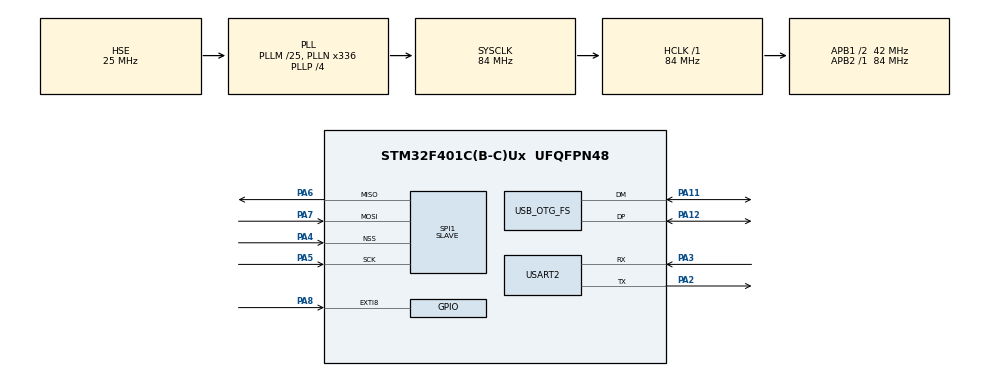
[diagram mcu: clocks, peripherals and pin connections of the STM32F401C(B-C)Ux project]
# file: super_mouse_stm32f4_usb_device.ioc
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Dma.Request0=SPI1_RX
Dma.Request1=SPI1_TX
Dma.Request2=USART2_RX
Dma.Request3=USART2_TX
Dma.SPI1_RX.0.Direction=DMA_PERIPH_TO_MEMORY
Dma.SPI1_RX.0.FIFOMode=DMA_FIFOMODE_DISABLE
Dma.SPI1_RX.0.Instance=DMA2_Stream0
Dma.SPI1_RX.0.MemDataAlignment=DMA_MDATAALIGN_BYTE
Dma.SPI1_RX.0.MemInc=DMA_MINC_ENABLE
Dma.SPI1_RX.0.Mode=DMA_NORMAL
Dma.SPI1_RX.0.PeriphDataAlignment=DMA_PDATAALIGN_BYTE
Dma.SPI1_RX.0.PeriphInc=DMA_PINC_DISABLE
Dma.SPI1_RX.0.Priority=DMA_PRIORITY_LOW
Dma.SPI1_TX.1.Direction=DMA_MEMORY_TO_PERIPH
Dma.SPI1_TX.1.FIFOMode=DMA_FIFOMODE_DISABLE
Dma.SPI1_TX.1.Instance=DMA2_Stream3
Dma.SPI1_TX.1.MemDataAlignment=DMA_MDATAALIGN_BYTE
Dma.SPI1_TX.1.MemInc=DMA_MINC_ENABLE
Dma.SPI1_TX.1.Mode=DMA_NORMAL
Dma.SPI1_TX.1.PeriphDataAlignment=DMA_PDATAALIGN_BYTE
Dma.SPI1_TX.1.PeriphInc=DMA_PINC_DISABLE
Dma.SPI1_TX.1.Priority=DMA_PRIORITY_LOW
Dma.USART2_RX.2.Direction=DMA_PERIPH_TO_MEMORY
Dma.USART2_RX.2.FIFOMode=DMA_FIFOMODE_DISABLE
Dma.USART2_RX.2.Instance=DMA1_Stream5
Dma.USART2_RX.2.MemDataAlignment=DMA_MDATAALIGN_BYTE
Dma.USART2_RX.2.MemInc=DMA_MINC_ENABLE
Dma.USART2_RX.2.Mode=DMA_NORMAL
Dma.USART2_RX.2.PeriphDataAlignment=DMA_PDATAALIGN_BYTE
Dma.USART2_RX.2.PeriphInc=DMA_PINC_DISABLE
Dma.USART2_RX.2.Priority=DMA_PRIORITY_LOW
Dma.USART2_TX.3.Direction=DMA_MEMORY_TO_PERIPH
Dma.USART2_TX.3.FIFOMode=DMA_FIFOMODE_DISABLE
Dma.USART2_TX.3.Instance=DMA1_Stream6
Dma.USART2_TX.3.MemDataAlignment=DMA_MDATAALIGN_BYTE
Dma.USART2_TX.3.MemInc=DMA_MINC_ENABLE
Dma.USART2_TX.3.Mode=DMA_NORMAL
Dma.USART2_TX.3.PeriphDataAlignment=DMA_PDATAALIGN_BYTE
Dma.USART2_TX.3.PeriphInc=DMA_PINC_DISABLE
Dma.USART2_TX.3.Priority=DMA_PRIORITY_LOW
Mcu.Family=STM32F4
Mcu.Name=STM32F401C(B-C)Ux
Mcu.Package=UFQFPN48
NVIC.DMA1_Stream5_IRQn=true\:0\:0\:false\:false\:true\:false\:true
NVIC.DMA1_Stream6_IRQn=true\:0\:0\:false\:false\:true\:false\:true
NVIC.DMA2_Stream0_IRQn=true\:0\:0\:false\:false\:true\:false\:true
NVIC.DMA2_Stream3_IRQn=true\:0\:0\:false\:false\:true\:false\:true
NVIC.EXTI9_5_IRQn=true\:0\:0\:false\:false\:true\:true\:true
NVIC.OTG_FS_IRQn=true\:0\:0\:false\:false\:true\:true\:true
NVIC.PriorityGroup=NVIC_PRIORITYGROUP_4
NVIC.SPI1_IRQn=true\:0\:0\:false\:false\:true\:true\:true
NVIC.TIM1_BRK_TIM9_IRQn=true\:0\:0\:false\:false\:true\:true\:true
NVIC.TIM1_TRG_COM_TIM11_IRQn=true\:0\:0\:false\:false\:true\:true\:true
NVIC.TIM1_UP_TIM10_IRQn=true\:0\:0\:false\:false\:true\:true\:true
NVIC.USART2_IRQn=true\:0\:0\:false\:false\:true\:true\:true
PA11.Mode=Device_Only
PA11.Signal=USB_OTG_FS_DM
PA12.Mode=Device_Only
PA12.Signal=USB_OTG_FS_DP
PA13.Mode=Serial_Wire
PA13.Signal=SYS_JTMS-SWDIO
PA14.Mode=Serial_Wire
PA14.Signal=SYS_JTCK-SWCLK
PA2.Mode=Asynchronous
PA2.Signal=USART2_TX
PA3.Mode=Asynchronous
PA3.Signal=USART2_RX
PA4.Mode=NSS_Signal_Hard_Input
PA4.Signal=SPI1_NSS
PA5.Mode=Full_Duplex_Slave
PA5.Signal=SPI1_SCK
PA6.Mode=Full_Duplex_Slave
PA6.Signal=SPI1_MISO
PA7.Mode=Full_Duplex_Slave
PA7.Signal=SPI1_MOSI
PA8.Signal=GPXTI8
PH0\ -\ OSC_IN.Mode=HSE-External-Oscillator
PH0\ -\ OSC_IN.Signal=RCC_OSC_IN
PH1\ -\ OSC_OUT.Mode=HSE-External-Oscillator
PH1\ -\ OSC_OUT.Signal=RCC_OSC_OUT
ProjectManager.HeapSize=0x200
ProjectManager.StackSize=0x400
ProjectManager.TargetToolchain=STM32CubeIDE
RCC.48MHZClocksFreq_Value=48000000
RCC.AHBFreq_Value=84000000
RCC.APB1CLKDivider=RCC_HCLK_DIV2
RCC.APB1Freq_Value=42000000
RCC.APB1TimFreq_Value=84000000
RCC.APB2Freq_Value=84000000
RCC.APB2TimFreq_Value=84000000
RCC.CortexFreq_Value=84000000
RCC.HCLKFreq_Value=84000000
RCC.HSE_VALUE=25000000
RCC.HSI_VALUE=16000000
RCC.LSE_VALUE=32768
RCC.PLLM=25
RCC.PLLN=336
RCC.PLLP=RCC_PLLP_DIV4
RCC.PLLQ=7
RCC.SYSCLKFreq_VALUE=84000000
RCC.SYSCLKSource=RCC_SYSCLKSOURCE_PLLCLK
RCC.VCOOutputFreq_Value=336000000
SPI1.Direction=SPI_DIRECTION_2LINES
SPI1.Mode=SPI_MODE_SLAVE
SPI1.VirtualNSS=VM_NSSHARD
SPI1.VirtualType=VM_SLAVE
TIM10.Prescaler=8400
TIM11.AutoReloadPreload=TIM_AUTORELOAD_PRELOAD_ENABLE
TIM11.Period=10
TIM11.Prescaler=8400
TIM5.Prescaler=8400
TIM9.Prescaler=8400
USART2.VirtualMode=VM_ASYNC
USB_DEVICE.CLASS_NAME_FS=HID
USB_DEVICE.VirtualMode=Hid
USB_DEVICE.VirtualModeFS=Hid_FS
USB_OTG_FS.VirtualMode=Device_Only
VP_TIM10_VS_ClockSourceINT.Mode=Enable_Timer
VP_TIM11_VS_ClockSourceINT.Mode=Enable_Timer
VP_TIM5_VS_ClockSourceINT.Mode=Internal
VP_TIM9_VS_ClockSourceINT.Mode=Internal
VP_USB_DEVICE_VS_USB_DEVICE_HID_FS.Mode=HID_FS
board=custom

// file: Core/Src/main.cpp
/* USER CODE BEGIN Header */
/**
  ******************************************************************************
  * @file           : main.c
  * @brief          : Main program body
  ******************************************************************************
  * @attention
  *
  * <h2><center>&copy; Copyright (c) 2020 STMicroelectronics.
  * All rights reserved.</center></h2>
  *
  * This software component is licensed by ST under BSD 3-Clause license,
  * the "License"; You may not use this file except in compliance with the
  * License. You may obtain a copy of the License at:
  *                        opensource.org/licenses/BSD-3-Clause
  *
  ******************************************************************************
  */
/* USER CODE END Header */

#include <cstdio>

#include "main.h"
#include "usb_device.h"
#include "usbd_hid.h"
#include "mouse_event_handler.hpp"
#include "circular_buffers.hpp"
#include "key_value_tree.hpp"
#include "rpc_impl.hpp"

CRC_HandleTypeDef hcrc;

IWDG_HandleTypeDef hiwdg;

SPI_HandleTypeDef hspi1;
DMA_HandleTypeDef hdma_spi1_rx;
DMA_HandleTypeDef hdma_spi1_tx;

TIM_HandleTypeDef htim5;
TIM_HandleTypeDef htim9;
TIM_HandleTypeDef htim10;
TIM_HandleTypeDef htim11;

UART_HandleTypeDef huart2;
DMA_HandleTypeDef hdma_usart2_rx;
DMA_HandleTypeDef hdma_usart2_tx;

WWDG_HandleTypeDef hwwdg;

/* USER CODE BEGIN PV */

int tim11_count = 0;
int tim10_count = 0;
int tim9_count = 0;
int uart_rx_count = 0;
int usb_event_num = 0;
int mouse_event_num = 0;
int keyboard_event_num = 0;
int gpio_pa8_interrupt_count = 0;

#define UART_RX_BUF_SIZE 128
#define UART_TX_BUF_SIZE 512
#define SPI_RX_BUF_SIZE 17

#define USING_DMA_UART 1
#define USING_CIRCULAR_DMA 1

int spi_rx_count = 0;
int spi_error_count = 0;
int spi_half_rx_count = 0;
const uint16_t keep_alive_period = 50'000;
uint32_t uart_rx_dma_remaining_bytes = 0;

#pragma pack(1)
typedef struct
{
	int16_t dx;
	int16_t dy;
	int8_t dz;
	uint32_t buttons;
}
SPI_MMO_Mouse_State_TypeDef;

SPI_MMO_Mouse_State_TypeDef* spi_mouse_state_rx;

uint8_t rx_buf_read_pos = 0;
uint8_t rx_buf[UART_RX_BUF_SIZE];

uint8_t spi_rx_buf[] = "Test Test Test Test Test ";
UART_Tx_CircularBuffer uart2_tx_buf;

extern void test_config(uint8_t test_index, void (*traversal_func)(const uint32_t key, const uint8_t, const uint8_t* data));
/* USER CODE END PV */

void SystemClock_Config(void);
static void MX_GPIO_Init(void);
static void MX_DMA_Init(void);
static void MX_SPI1_Init(void);
static void MX_TIM9_Init(void);
static void MX_TIM5_Init(void);
static void MX_TIM10_Init(void);
static void MX_TIM11_Init(void);
static void MX_USART2_UART_Init(void);
static void MX_CRC_Init(void);
static void MX_IWDG_Init(void);
static void MX_WWDG_Init(void);

/* USER CODE BEGIN 0 */

//extern "C" uint8_t PrintHexBuf(uint8_t *buff, uint8_t len);
uint8_t PrintHexBuf(uint8_t *buff, uint8_t len){
	for(uint8_t i = 0; i<len; i++){
		printf("%02X ",buff[i]);
		if ((i+1)%8 == 0){
			printf("\r\n");
		}
	}
	printf("\r\n");
	return 0;
}

void start_keypress_timer(){
	htim5.Instance->CNT = 0;
	HAL_TIM_Base_Start_IT(&htim5);
}

void stop_keypress_timer(){
	HAL_TIM_Base_Stop_IT(&htim5);
}

uint32_t read_keypress_time_ms(){
	uint32_t cnt = __HAL_TIM_GetCounter(&htim5);
	return cnt/10;
}

MouseEventHandler mouse_event_handler(&stop_keypress_timer, &start_keypress_timer, &read_keypress_time_ms);

RPC_Impl* hid_rpc_obj_ptr = NULL;

void spi_rx_complete(SPI_HandleTypeDef *hspi){
	spi_rx_count ++ ;

	printf("SPI RX : %d\r\n",spi_rx_count);
	PrintHexBuf(spi_rx_buf,9);

	spi_mouse_state_rx = (SPI_MMO_Mouse_State_TypeDef*) spi_rx_buf;
	mouse_event_handler.update_state(spi_mouse_state_rx->dx, spi_mouse_state_rx->dy, spi_mouse_state_rx->dz, spi_mouse_state_rx->buttons);

	//This needs to be updated to use mouse_event_handler for it to work properly
	//printf("X:%d Y:%d Z:%d B:0x%x \r\n",accumulated_mouse_del_x,accumulated_mouse_del_y,accumulated_scroll_y,current_primary_button_state);
}

void spi_half_rx_complete(SPI_HandleTypeDef *hspi){
	spi_half_rx_count ++ ;
	printf("SPI Half Received: %d\r\n",spi_rx_count);
}

void spi_rx_error(SPI_HandleTypeDef *hspi){
	spi_error_count ++ ;
	printf("SPI Error: %d\r\n",spi_error_count);
}

void timer11_period_elapsed(TIM_HandleTypeDef *htim){
	tim11_count ++;
	printf("Client alive msg.. %d\r\n",tim11_count);
}

void process_transfer_uart_rx_buf(uint8_t remaining_bytes){
	if ((UART_RX_BUF_SIZE - remaining_bytes)> 0){
		uint8_t bytes_to_transfer = UART_RX_BUF_SIZE - remaining_bytes - rx_buf_read_pos;
		uart2_tx_buf.write_to_queue((char *) &rx_buf[rx_buf_read_pos], bytes_to_transfer);
		rx_buf_read_pos += bytes_to_transfer;
	}
	if(remaining_bytes == 0){
		rx_buf_read_pos = 0;
	}
}

void timer10_period_elapsed(TIM_HandleTypeDef *htim){
	tim10_count ++;

	uart_rx_dma_remaining_bytes = __HAL_DMA_GET_COUNTER(&hdma_usart2_rx);
	process_transfer_uart_rx_buf(uart_rx_dma_remaining_bytes);

	if (HAL_DMA_GetState(&hdma_usart2_tx) == HAL_DMA_STATE_READY){
		auto [ tx_buf, tx_count ] = uart2_tx_buf.longest_possible_send();
		if(tx_count > 0){
			HAL_UART_Transmit_DMA(&huart2,(uint8_t*) tx_buf, tx_count);
		}
	}
}

void timer9_period_elapsed(TIM_HandleTypeDef *htim){
	tim9_count ++;
	mouse_event_handler.hid_poll_interval_timer_callback();
}

void uart_rx_complete(UART_HandleTypeDef *huart){
	process_transfer_uart_rx_buf(0);
	uart_rx_count ++;
}

void uart_tx_complete(UART_HandleTypeDef *huart){
	uart2_tx_buf.last_send_complete();
}

extern "C" int _write(int file, char *ptr, int len);
int _write(int file, char *ptr, int len)
{
	uart2_tx_buf.write_to_queue(ptr, len);
	return len;
}

void Enable_Flash_Interrupts_NVIC(){
	  HAL_NVIC_SetPriority(FLASH_IRQn, 0, 0);
	  HAL_NVIC_EnableIRQ(FLASH_IRQn);
}

void update_key_value_mouse_event_handler(const uint32_t key, const uint8_t size, const uint8_t* data){
	mouse_event_handler.register_config_entry(key, size, data);
}

void HandleHIDOutputMsg(const uint8_t* buf, uint8_t size){
	PrintHexBuf(const_cast<uint8_t*>(buf), size);
	hid_rpc_obj_ptr->Handle_RPC(buf);
}

int main(void)
{

  /* MCU Configuration--------------------------------------------------------*/

  /* Reset of all peripherals, Initializes the Flash interface and the Systick. */
  HAL_Init();

  /* Configure the system clock */
  SystemClock_Config();

  /* Initialize all configured peripherals */
  MX_GPIO_Init();
  MX_DMA_Init();
  MX_SPI1_Init();
  MX_TIM9_Init();
  MX_TIM5_Init();
  MX_TIM10_Init();
  MX_TIM11_Init();
  MX_USART2_UART_Init();
  MX_USB_DEVICE_Init();
  MX_CRC_Init();

  Node_Address flash_config_tree_root_addr = (uint32_t) 0x08004000;
  Flash_Key_Value_Tree r_tree = Flash_Key_Value_Tree((uint32_t)flash_config_tree_root_addr);
  r_tree.reload();

  auto hid_rpc_obj = RPC_Impl({.flash_key_value_tree=&r_tree, .mouse_event_handler=&mouse_event_handler});
  hid_rpc_obj_ptr = &hid_rpc_obj;

  USBD_HID_Register_EP0RX_Callback(HandleHIDOutputMsg);

  //MX_IWDG_Init();
  //MX_WWDG_Init();
  /* USER CODE BEGIN 2 */

  HAL_TIM_RegisterCallback(&htim11,HAL_TIM_PERIOD_ELAPSED_CB_ID, timer11_period_elapsed);
  HAL_TIM_RegisterCallback(&htim10,HAL_TIM_PERIOD_ELAPSED_CB_ID, timer10_period_elapsed);
  HAL_TIM_RegisterCallback(&htim9,HAL_TIM_PERIOD_ELAPSED_CB_ID, timer9_period_elapsed);

  //HAL_UART_RegisterCallback(&huart2, HAL_UART_TX_COMPLETE_CB_ID, uart_transfer_completed);
  HAL_UART_RegisterCallback(&huart2, HAL_UART_RX_COMPLETE_CB_ID, uart_rx_complete);
  HAL_UART_RegisterCallback(&huart2, HAL_UART_TX_COMPLETE_CB_ID, uart_tx_complete);
  HAL_SPI_RegisterCallback(&hspi1, HAL_SPI_RX_COMPLETE_CB_ID, spi_rx_complete);
  //HAL_SPI_RegisterCallback(&hspi1, HAL_SPI_RX_HALF_COMPLETE_CB_ID, spi_half_rx_complete);
  HAL_SPI_RegisterCallback(&hspi1, HAL_SPI_ERROR_CB_ID, spi_rx_error);

  HAL_TIM_Base_Start_IT(&htim11);
  HAL_TIM_Base_Start_IT(&htim10);
  HAL_TIM_Base_Start_IT(&htim9);

  /* USER CODE END 2 */
  HAL_UART_Receive_DMA(&huart2, rx_buf, UART_RX_BUF_SIZE);
  HAL_SPI_Receive_DMA(&hspi1, spi_rx_buf, 9);

  Enable_Flash_Interrupts_NVIC();

  /* Infinite loop */
  /* USER CODE BEGIN WHILE */

  uint32_t pI = 0;
  uint64_t Data = 0x00000000FFFFFFFF;
  uint8_t i = 0;

  r_tree.map_with_key_value_function(update_key_value_mouse_event_handler);

  while (1)
  {
	  /* USER CODE END WHILE */
	  /*
	  HAL_StatusTypeDef a = HAL_FLASH_Unlock();
	  __HAL_FLASH_CLEAR_FLAG(FLASH_FLAG_EOP | FLASH_FLAG_OPERR | FLASH_FLAG_WRPERR | FLASH_FLAG_PGAERR | FLASH_FLAG_PGSERR | FLASH_FLAG_PGPERR);

	  const volatile uint32_t *userConfig = &user_config_sector1;

	  HAL_StatusTypeDef b = HAL_FLASH_Program_IT(FLASH_TYPEPROGRAM_WORD, (uint32_t) userConfig, Data);

	  Data = Data & ~(uint64_t)(0x1<<i);

	  HAL_FLASH_Lock();
	  */

	  //HAL_Delay(1000);
	  //check_on_config();
	  //pI =  USBD_HID_GetPollingInterval(&hUsbDeviceFS);
	  //pI ++;

	  //Why is the flash tree synchronized in the main loop?
	  //1. Why not? The main loop is useless otherwise to this app
	  //2. It provides a convinience place to "watch-dog" this potentially
	  //   dangerous function.
	  //2.a. As its reading the raw flash values and is trying to build a
	  //     (potentially) complicated data structure. It can runaway
	  //	 in its own fantasy land
	  //3. If that happens, the main loop will not be able to kick-the-dog
	  //   which will lead to a "safe-mode" reboot.
	  if(r_tree.needs_syncing()){
		 // r_tree.reload();
	  }

	  i ++;
	  i = i % 32;
  }
}

void SystemClock_Config(void)
{
  RCC_OscInitTypeDef RCC_OscInitStruct = {0};
  RCC_ClkInitTypeDef RCC_ClkInitStruct = {0};

  /** Configure the main internal regulator output voltage
  */
  __HAL_RCC_PWR_CLK_ENABLE();
  __HAL_PWR_VOLTAGESCALING_CONFIG(PWR_REGULATOR_VOLTAGE_SCALE2);
  /** Initializes the CPU, AHB and APB busses clocks
  */
  //Pre WDG
  //RCC_OscInitStruct.OscillatorType = RCC_OSCILLATORTYPE_HSE;

  //Post WDG
  RCC_OscInitStruct.OscillatorType = RCC_OSCILLATORTYPE_LSI|RCC_OSCILLATORTYPE_HSE;
  RCC_OscInitStruct.LSIState = RCC_LSI_ON;

  //Unaffected by WDG
  RCC_OscInitStruct.HSEState = RCC_HSE_ON;
  RCC_OscInitStruct.PLL.PLLState = RCC_PLL_ON;
  RCC_OscInitStruct.PLL.PLLSource = RCC_PLLSOURCE_HSE;
  RCC_OscInitStruct.PLL.PLLM = 25;
  RCC_OscInitStruct.PLL.PLLN = 336;
  RCC_OscInitStruct.PLL.PLLP = RCC_PLLP_DIV4;
  RCC_OscInitStruct.PLL.PLLQ = 7;
  if (HAL_RCC_OscConfig(&RCC_OscInitStruct) != HAL_OK)
  {
    Error_Handler();
  }
  /** Initializes the CPU, AHB and APB busses clocks
  */
  RCC_ClkInitStruct.ClockType = RCC_CLOCKTYPE_HCLK|RCC_CLOCKTYPE_SYSCLK
                              |RCC_CLOCKTYPE_PCLK1|RCC_CLOCKTYPE_PCLK2;
  RCC_ClkInitStruct.SYSCLKSource = RCC_SYSCLKSOURCE_PLLCLK;
  RCC_ClkInitStruct.AHBCLKDivider = RCC_SYSCLK_DIV1;
  RCC_ClkInitStruct.APB1CLKDivider = RCC_HCLK_DIV2;
  RCC_ClkInitStruct.APB2CLKDivider = RCC_HCLK_DIV1;

  if (HAL_RCC_ClockConfig(&RCC_ClkInitStruct, FLASH_LATENCY_2) != HAL_OK)
  {
    Error_Handler();
  }
}

static void MX_CRC_Init(void)
{

  hcrc.Instance = CRC;
  if (HAL_CRC_Init(&hcrc) != HAL_OK)
  {
    Error_Handler();
  }

}

static void MX_IWDG_Init(void)
{

  hiwdg.Instance = IWDG;
  hiwdg.Init.Prescaler = IWDG_PRESCALER_4;
  hiwdg.Init.Reload = 4095;
  if (HAL_IWDG_Init(&hiwdg) != HAL_OK)
  {
    Error_Handler();
  }

}

static void MX_SPI1_Init(void)
{

  /* SPI1 parameter configuration*/
  hspi1.Instance = SPI1;
  hspi1.Init.Mode = SPI_MODE_SLAVE;
  hspi1.Init.Direction = SPI_DIRECTION_2LINES;
  hspi1.Init.DataSize = SPI_DATASIZE_8BIT;
  hspi1.Init.CLKPolarity = SPI_POLARITY_LOW;
  hspi1.Init.CLKPhase = SPI_PHASE_1EDGE;
  hspi1.Init.NSS = SPI_NSS_HARD_INPUT;
  hspi1.Init.FirstBit = SPI_FIRSTBIT_MSB;
  hspi1.Init.TIMode = SPI_TIMODE_DISABLE;
  hspi1.Init.CRCCalculation = SPI_CRCCALCULATION_DISABLE;
  hspi1.Init.CRCPolynomial = 10;
  if (HAL_SPI_Init(&hspi1) != HAL_OK)
  {
    Error_Handler();
  }
}

static void MX_TIM5_Init(void)
{

  TIM_ClockConfigTypeDef sClockSourceConfig = {0};
  TIM_MasterConfigTypeDef sMasterConfig = {0};

  htim5.Instance = TIM5;
  htim5.Init.Prescaler = 8400;
  htim5.Init.CounterMode = TIM_COUNTERMODE_UP;
  htim5.Init.Period = 0xFFFFFFFF;
  htim5.Init.ClockDivision = TIM_CLOCKDIVISION_DIV1;
  htim5.Init.AutoReloadPreload = TIM_AUTORELOAD_PRELOAD_DISABLE;
  if (HAL_TIM_Base_Init(&htim5) != HAL_OK)
  {
    Error_Handler();
  }
  sClockSourceConfig.ClockSource = TIM_CLOCKSOURCE_INTERNAL;
  if (HAL_TIM_ConfigClockSource(&htim5, &sClockSourceConfig) != HAL_OK)
  {
    Error_Handler();
  }
  sMasterConfig.MasterOutputTrigger = TIM_TRGO_RESET;
  sMasterConfig.MasterSlaveMode = TIM_MASTERSLAVEMODE_DISABLE;
  if (HAL_TIMEx_MasterConfigSynchronization(&htim5, &sMasterConfig) != HAL_OK)
  {
    Error_Handler();
  }

}

static void MX_TIM9_Init(void)
{

  TIM_ClockConfigTypeDef sClockSourceConfig = {0};

  htim9.Instance = TIM9;
  htim9.Init.Prescaler = 8400;
  htim9.Init.CounterMode = TIM_COUNTERMODE_UP;
  htim9.Init.Period = 100;
  htim9.Init.ClockDivision = TIM_CLOCKDIVISION_DIV1;
  htim9.Init.AutoReloadPreload = TIM_AUTORELOAD_PRELOAD_DISABLE;
  if (HAL_TIM_Base_Init(&htim9) != HAL_OK)
  {
    Error_Handler();
  }
  sClockSourceConfig.ClockSource = TIM_CLOCKSOURCE_INTERNAL;
  if (HAL_TIM_ConfigClockSource(&htim9, &sClockSourceConfig) != HAL_OK)
  {
    Error_Handler();
  }
}

static void MX_TIM10_Init(void)
{

  htim10.Instance = TIM10;
  htim10.Init.Prescaler = 8400;
  htim10.Init.CounterMode = TIM_COUNTERMODE_UP;
  htim10.Init.Period = 1;
  htim10.Init.ClockDivision = TIM_CLOCKDIVISION_DIV1;
  htim10.Init.AutoReloadPreload = TIM_AUTORELOAD_PRELOAD_DISABLE;
  if (HAL_TIM_Base_Init(&htim10) != HAL_OK)
  {
    Error_Handler();
  }
}

static void MX_TIM11_Init(void)
{

  htim11.Instance = TIM11;
  htim11.Init.Prescaler = 8400;
  htim11.Init.CounterMode = TIM_COUNTERMODE_UP;
  htim11.Init.Period = keep_alive_period;
  htim11.Init.ClockDivision = TIM_CLOCKDIVISION_DIV1;
  htim11.Init.AutoReloadPreload = TIM_AUTORELOAD_PRELOAD_ENABLE;
  if (HAL_TIM_Base_Init(&htim11) != HAL_OK)
  {
    Error_Handler();
  }
}

static void MX_USART2_UART_Init(void)
{

  huart2.Instance = USART2;
  huart2.Init.BaudRate = 1000000;
  huart2.Init.WordLength = UART_WORDLENGTH_8B;
  huart2.Init.StopBits = UART_STOPBITS_1;
  huart2.Init.Parity = UART_PARITY_NONE;
  huart2.Init.Mode = UART_MODE_TX_RX;
  huart2.Init.HwFlowCtl = UART_HWCONTROL_NONE;
  huart2.Init.OverSampling = UART_OVERSAMPLING_16;
  if (HAL_UART_Init(&huart2) != HAL_OK)
  {
    Error_Handler();
  }

}

static void MX_WWDG_Init(void)
{

  hwwdg.Instance = WWDG;
  hwwdg.Init.Prescaler = WWDG_PRESCALER_1;
  hwwdg.Init.Window = 64;
  hwwdg.Init.Counter = 64;
  hwwdg.Init.EWIMode = WWDG_EWI_DISABLE;
  if (HAL_WWDG_Init(&hwwdg) != HAL_OK)
  {
    Error_Handler();
  }

}

static void MX_DMA_Init(void)
{

  /* DMA controller clock enable */
  __HAL_RCC_DMA2_CLK_ENABLE();
  __HAL_RCC_DMA1_CLK_ENABLE();

  /* DMA interrupt init */
  /* DMA1_Stream5_IRQn interrupt configuration */
  HAL_NVIC_SetPriority(DMA1_Stream5_IRQn, 0, 0);
  HAL_NVIC_EnableIRQ(DMA1_Stream5_IRQn);
  /* DMA1_Stream6_IRQn interrupt configuration */
  HAL_NVIC_SetPriority(DMA1_Stream6_IRQn, 0, 0);
  HAL_NVIC_EnableIRQ(DMA1_Stream6_IRQn);
  /* DMA2_Stream0_IRQn interrupt configuration */
  HAL_NVIC_SetPriority(DMA2_Stream0_IRQn, 0, 0);
  HAL_NVIC_EnableIRQ(DMA2_Stream0_IRQn);
  /* DMA2_Stream3_IRQn interrupt configuration */
  HAL_NVIC_SetPriority(DMA2_Stream3_IRQn, 0, 0);
  HAL_NVIC_EnableIRQ(DMA2_Stream3_IRQn);

}

static void MX_GPIO_Init(void)
{
  GPIO_InitTypeDef GPIO_InitStruct = {0};

  /* GPIO Ports Clock Enable */
  __HAL_RCC_GPIOH_CLK_ENABLE();
  __HAL_RCC_GPIOA_CLK_ENABLE();

  /*Configure GPIO pin : PA8 */
  GPIO_InitStruct.Pin = GPIO_PIN_8;
  GPIO_InitStruct.Mode = GPIO_MODE_IT_RISING;
  GPIO_InitStruct.Pull = GPIO_NOPULL;
  HAL_GPIO_Init(GPIOA, &GPIO_InitStruct);

  /* EXTI interrupt init*/
  HAL_NVIC_SetPriority(EXTI9_5_IRQn, 0, 0);
  HAL_NVIC_EnableIRQ(EXTI9_5_IRQn);

}

void Error_Handler(void)
{
}

/************************ (C) COPYRIGHT STMicroelectronics *****END OF FILE****/
